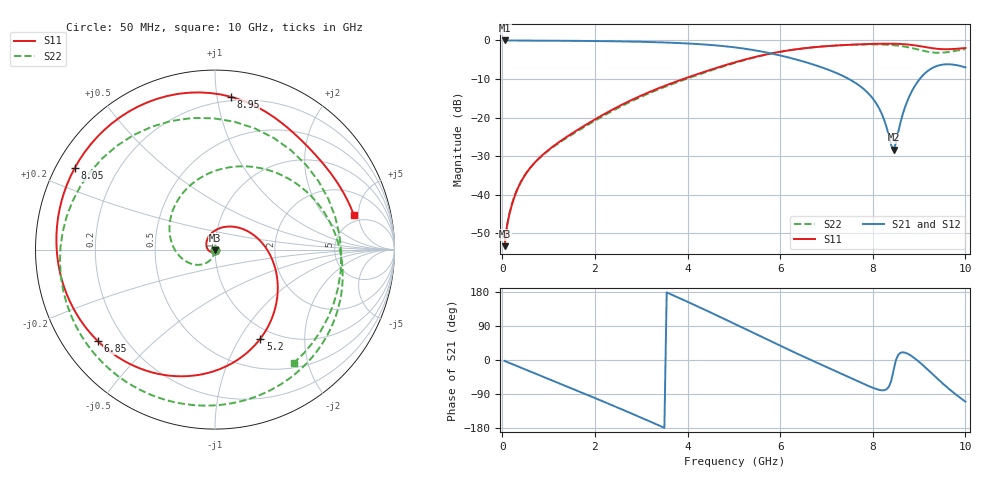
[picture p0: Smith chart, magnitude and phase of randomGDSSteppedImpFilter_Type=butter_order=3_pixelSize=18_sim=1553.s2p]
! freq	dB(S11)	phase(S11)	dB(S12)	phase(S12)
!  dB(S21)	phase(S21)	dB(S22)	phase(S22)
!S-par simulation data
#  GHz  S  DB  R 50
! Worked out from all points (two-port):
!   200 points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, 50 MHz to 10 GHz, reference 50 ohm
!   highest |S21| = -0.01 dB at 50 MHz (marker M1); lowest = -28.3 dB at 8.45 GHz (marker M2)
!   |S21| within 3 dB of the highest: start of sweep to 5.657 GHz
!   lowest |S11| = -53.4 dB at 50 MHz (marker M3), VSWR 1.00, Z = 50 - j0.214 ohm
!   |S11| at or under -10 dB: start of sweep to 3.909 GHz
!   |S22| runs from -53.2 to -1.0 dB; largest |S21 - S12| = 0
!   S11 on the Smith chart (normalised r, x): 50 MHz: 1.00, -0.00; 5.2 GHz: 0.86, -1.23; 6.85 GHz: 0.10, -0.34; 8.05 GHz: 0.05, +0.27; 8.95 GHz: 0.17, +1.09; 10 GHz: 4.13, +4.36
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0.05  -53.36 -85.8  -0.01 -2.5  -0.01 -2.5  -53.21 -82.2
0.2  -42.93 -102.9  -0.02 -10.0  -0.02 -10.0  -42.67 -88.9
0.5  -34.74 -132.8  -0.04 -24.9  -0.04 -24.9  -34.69 -97.9
1.15  -27.01 170.3  -0.07 -57.4  -0.07 -57.4  -27.20 -108.1
1.75  -22.28 120.1  -0.12 -87.6  -0.12 -87.6  -22.61 -118.1
2.5  -17.19 66.3  -0.23 -126.0  -0.23 -126.0  -17.52 -140.5
3.4  -12.28 15.8  -0.49 -173.6  -0.49 -173.6  -12.58 175.1
4.35  -8.19 -26.7  -1.04 133.9  -1.04 133.9  -8.41 112.7
5.05  -5.58 -56.5  -1.84 93.4  -1.84 93.4  -5.72 61.6
5.2  -5.08 -63.1  -2.08 84.5  -2.08 84.5  -5.20 50.6
6  -2.93 -100.1  -3.89 37.7  -3.89 37.7  -2.96 -5.8
6.7  -1.80 -134.5  -6.19 -1.9  -6.19 -1.9  -1.79 -51.1
6.85  -1.64 -142.1  -6.78 -10.2  -6.78 -10.2  -1.62 -60.4
7.5  -1.12 -177.0  -10.11 -46.2  -10.11 -46.2  -1.14 -100.6
8.05  -0.88 149.8  -15.87 -75.5  -15.87 -75.5  -1.03 -139.1
8.35  -0.84 129.4  -24.88 -70.2  -24.88 -70.2  -1.15 -165.3
8.45  -0.85 122.2  -28.31 -26.5  -28.31 -26.5  -1.24 -175.4
8.7  -1.00 103.4  -17.17 19.2  -17.17 19.2  -1.63 154.9
8.95  -1.35 84.1  -11.03 0.3  -11.03 0.3  -2.27 117.2
9.2  -1.86 66.0  -7.80 -26.9  -7.80 -26.9  -2.97 71.7
9.5  -2.26 46.6  -6.29 -60.9  -6.29 -60.9  -3.17 15.3
10  -1.97 14.0  -6.98 -109.7  -6.98 -109.7  -2.28 -55.1
